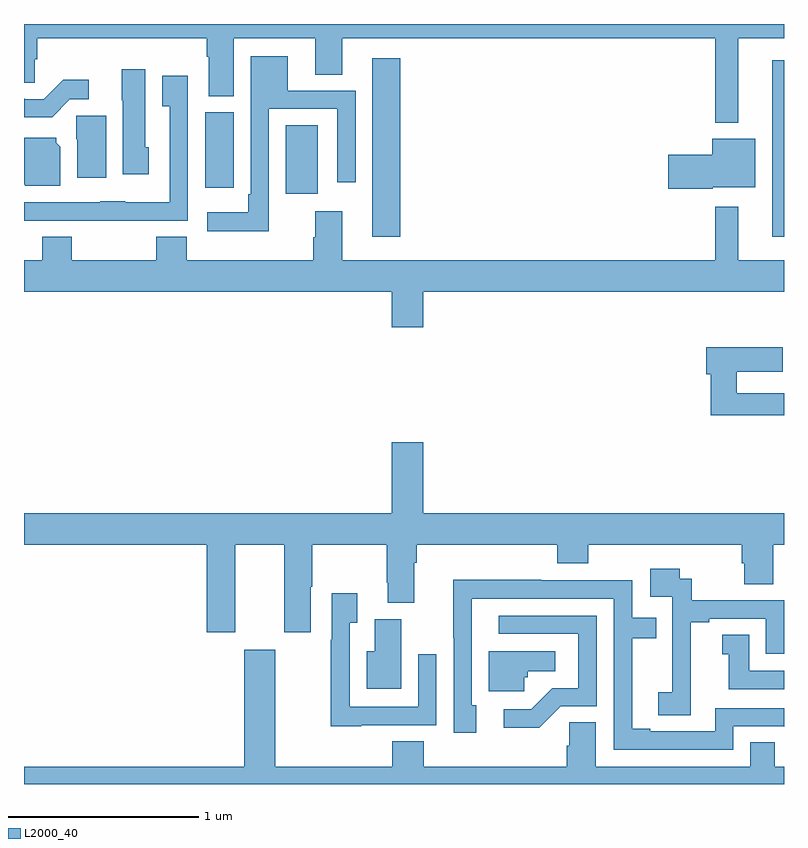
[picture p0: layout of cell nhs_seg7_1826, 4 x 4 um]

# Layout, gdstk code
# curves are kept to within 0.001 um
import gdstk
lib = gdstk.Library(unit=1e-6, precision=1e-09)
def R(c, l, rs):  # rectangles x0, y0, x1, y1
    for r in rs: c.add(gdstk.rectangle(r[:2], r[2:], *l))
def P(c, l, *ps):  # polygons
    for p in ps: c.add(gdstk.Polygon(p, *l))
L2000_40 = (2000, 40)

nhs_seg7_1826 = lib.new_cell('nhs_seg7_1826')
R(nhs_seg7_1826, L2000_40, [(236.834,1024.881,236.981,1025.821), (238.937,1024.881,239,1025.809), (236.378,1025.106,236.545,1025.468), (235.955,1025.139,236.104,1025.535)])
P(nhs_seg7_1826, L2000_40, [(238.759,1025.924),(239,1025.924),(239,1026),(235,1026),(235,1025.692),(235.056,1025.692),(235.056,1025.814),(235.07,1025.814),(235.07,1025.924),(235.961,1025.924),(235.961,1025.828),(235.973,1025.828),(235.973,1025.62),(236.104,1025.62),(236.104,1025.924),(236.534,1025.924),(236.534,1025.734),(236.674,1025.734),(236.674,1025.924),(238.638,1025.924),(238.638,1025.48),(238.759,1025.48)],
  [(236.289,1025.553),(236.649,1025.553),(236.649,1025.166),(236.745,1025.166),(236.745,1025.649),(236.389,1025.649),(236.389,1025.83),(236.193,1025.83),(236.193,1025.104),(236.181,1025.104),(236.181,1025.008),(235.965,1025.008),(235.965,1024.91),(236.289,1024.91)],
  [(235.657,1025.352),(235.639,1025.352),(235.639,1025.761),(235.514,1025.761),(235.514,1025.598),(235.52,1025.598),(235.52,1025.208),(235.657,1025.208)],
  [(235.633,1024.965),(235.863,1024.965),(235.863,1025.728),(235.727,1025.728),(235.727,1025.567),(235.767,1025.567),(235.767,1025.062),(235.533,1025.062),(235.533,1025.068),(235.401,1025.068),(235.401,1025.061),(235,1025.061),(235,1024.965),(235.401,1024.965),(235.401,1024.964),(235.633,1024.964)],
  [(235.242,1025.604),(235.342,1025.604),(235.342,1025.707),(235.207,1025.707),(235.104,1025.604),(235.004,1025.604),(235.004,1025.607),(235,1025.607),(235,1025.51),(235.148,1025.51)],
  [(235.432,1025.517),(235.276,1025.517),(235.276,1025.394),(235.28,1025.394),(235.28,1025.19),(235.432,1025.19)],
  [(235.192,1025.354),(235.17,1025.376),(235.17,1025.401),(235,1025.401),(235,1025.156),(235.006,1025.15),(235.192,1025.15)],
  [(238.626,1025.141),(238.849,1025.141),(238.849,1025.395),(238.622,1025.395),(238.622,1025.312),(238.392,1025.312),(238.392,1025.134),(238.626,1025.134)],
  [(237.1,1024.592),(239,1024.592),(239,1024.756),(238.759,1024.756),(238.759,1025.038),(238.638,1025.038),(238.638,1024.756),(236.674,1024.756),(236.674,1025.014),(236.534,1025.014),(236.534,1024.877),(236.522,1024.877),(236.522,1024.756),(235.856,1024.756),(235.856,1024.88),(235.696,1024.88),(235.696,1024.756),(235.251,1024.756),(235.251,1024.88),(235.096,1024.88),(235.096,1024.756),(235,1024.756),(235,1024.592),(236.936,1024.592),(236.936,1024.404),(237.1,1024.404)],
  [(239,1024.056),(238.751,1024.056),(238.751,1024.169),(238.993,1024.169),(238.993,1024.299),(238.592,1024.299),(238.592,1024.157),(238.615,1024.157),(238.615,1023.94),(239,1023.94)],
  [(236.113,1023.26),(236.369,1023.26),(236.369,1022.799),(236.509,1022.799),(236.509,1023.038),(236.517,1023.038),(236.517,1023.26),(236.908,1023.26),(236.908,1023.058),(236.915,1023.058),(236.915,1022.953),(237.055,1022.953),(237.055,1023.164),(237.068,1023.164),(237.068,1023.26),(237.806,1023.26),(237.806,1023.161),(237.971,1023.161),(237.971,1023.26),(238.778,1023.26),(238.778,1023.162),(238.79,1023.162),(238.79,1023.052),(238.943,1023.052),(238.943,1023.26),(239,1023.26),(239,1023.424),(237.1,1023.424),(237.1,1023.799),(236.936,1023.799),(236.936,1023.424),(235,1023.424),(235,1023.26),(235.961,1023.26),(235.961,1022.799),(236.113,1022.799)],
  [(238.508,1022.473),(238.51,1022.473),(238.51,1022.851),(238.606,1022.851),(238.606,1022.871),(238.905,1022.871),(238.905,1022.685),(239,1022.685),(239,1022.967),(238.514,1022.967),(238.514,1023.081),(238.452,1023.081),(238.452,1023.133),(238.296,1023.133),(238.296,1022.985),(238.413,1022.985),(238.413,1022.681),(238.412,1022.681),(238.412,1022.484),(238.338,1022.484),(238.338,1022.362),(238.508,1022.362)],
  [(238.734,1022.304),(238.998,1022.304),(239,1022.302),(239,1022.4),(238.638,1022.4),(238.638,1022.277),(238.297,1022.277),(238.297,1022.292),(238.201,1022.292),(238.201,1022.766),(238.328,1022.766),(238.328,1022.874),(238.2,1022.874),(238.2,1023.072),(237.722,1023.072),(237.722,1023.074),(237.26,1023.074),(237.261,1022.271),(237.379,1022.271),(237.379,1022.415),(237.357,1022.415),(237.357,1022.976),(238.104,1022.976),(238.104,1022.181),(238.734,1022.181)],
  [(236.775,1022.31),(237.171,1022.31),(237.171,1022.683),(237.075,1022.683),(237.075,1022.406),(236.715,1022.406),(236.715,1022.848),(236.755,1022.848),(236.755,1023.004),(236.619,1023.004),(236.619,1022.759),(236.614,1022.759),(236.614,1022.303),(236.775,1022.303)],
  [(237.825,1022.409),(238.014,1022.409),(238.014,1022.886),(237.498,1022.886),(237.498,1022.79),(237.918,1022.79),(237.918,1022.505),(237.78,1022.505),(237.669,1022.394),(237.525,1022.394),(237.525,1022.297),(237.712,1022.297)],
  [(236.986,1022.868),(236.846,1022.868),(236.846,1022.698),(236.804,1022.698),(236.804,1022.501),(236.986,1022.501)],
  [(239,1022.595),(238.816,1022.595),(238.816,1022.786),(238.676,1022.786),(238.676,1022.683),(238.709,1022.683),(238.709,1022.499),(239,1022.499)],
  [(238.009,1022.324),(237.87,1022.324),(237.87,1022.201),(237.857,1022.201),(237.857,1022.092),(237.104,1022.092),(237.104,1022.225),(236.939,1022.225),(236.939,1022.092),(236.323,1022.092),(236.323,1022.707),(236.159,1022.707),(236.159,1022.092),(235,1022.092),(235,1022),(239,1022),(239,1022.092),(238.95,1022.092),(238.95,1022.219),(238.823,1022.219),(238.823,1022.092),(238.009,1022.092)],
  [(237.633,1022.562),(237.652,1022.562),(237.652,1022.594),(237.796,1022.594),(237.796,1022.698),(237.446,1022.698),(237.446,1022.487),(237.633,1022.487)])

lib.write_gds('nhs_seg7_1826.gds')
